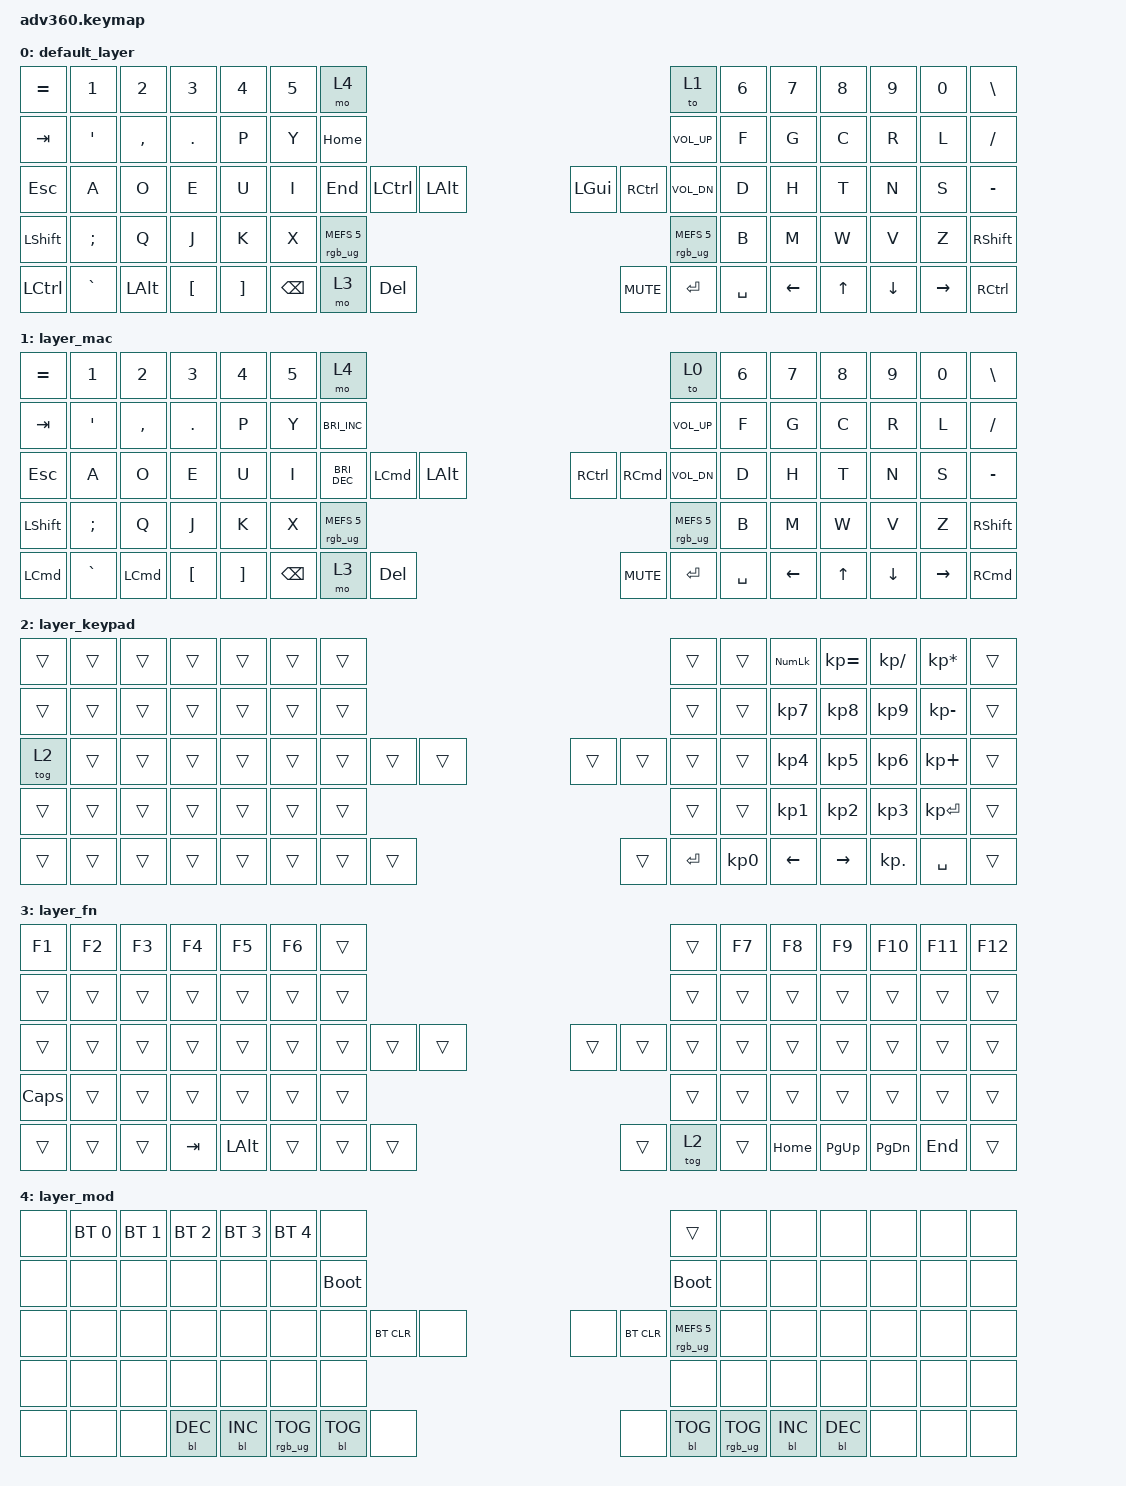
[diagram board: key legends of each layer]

/*
 * Copyright (c) 2020 The ZMK Contributors
 *
 * SPDX-License-Identifier: MIT
 */


/* THIS FILE WAS GENERATED!
 *
 * This file was generated automatically. You may or may not want to
 * edit it directly.
 */

#include <behaviors.dtsi>
#include <dt-bindings/zmk/keys.h>
#include <dt-bindings/zmk/rgb.h>
#include <dt-bindings/zmk/bt.h>
#include <dt-bindings/zmk/backlight.h>

/ {
  behaviors {
    #include "macros.dtsi"

    hm: homerow_mods {
        compatible = "zmk,behavior-hold-tap";
        label = "HOMEROW_MODS";
        #binding-cells = <2>;
        tapping-term-ms = <200>;
        quick_tap_ms = <175>;
        flavor = "tap-preferred";
        bindings = <&kp>, <&kp>;
    };
  };

    keymap {
        compatible = "zmk,keymap";


        default_layer {
            bindings = <
        &kp EQUAL            &kp N1     &kp N2            &kp N3             &kp N4  &kp N5               &mo 4                                                                                               &to 1  &kp N6    &kp N7  &kp N8    &kp N9     &kp N0  &kp BACKSLASH
          &kp TAB  &kp SINGLE_QUOTE  &kp COMMA           &kp DOT              &kp P   &kp Y            &kp HOME                                                                                        &kp C_VOL_UP   &kp F     &kp G   &kp C     &kp R      &kp L      &kp SLASH
          &kp ESC             &kp A      &kp O             &kp E              &kp U   &kp I             &kp END  &kp LCTRL                &kp LALT                                &kp LGUI  &kp RCTRL  &kp C_VOL_DN   &kp D     &kp H   &kp T     &kp N      &kp S      &kp MINUS
        &kp LSHFT     &kp SEMICOLON      &kp Q             &kp J              &kp K   &kp X                                 &rgb_ug RGB_MEFS_CMD 5                  &rgb_ug RGB_MEFS_CMD 5                            &kp B     &kp M   &kp W     &kp V      &kp Z      &kp RSHFT
 &kp LEFT_CONTROL         &kp GRAVE   &kp LALT  &kp LEFT_BRACKET  &kp RIGHT_BRACKET                    &kp BSPC      &mo 3              &kp DELETE                              &kp C_MUTE  &kp ENTER     &kp SPACE          &kp LEFT  &kp UP  &kp DOWN  &kp RIGHT      &kp RCTRL
            >;
        };

        layer_mac {
            bindings = <
        &kp EQUAL            &kp N1            &kp N2            &kp N3             &kp N4  &kp N5                           &mo 4                                                                                                              &to 0  &kp N6    &kp N7  &kp N8    &kp N9     &kp N0  &kp BACKSLASH
          &kp TAB  &kp SINGLE_QUOTE         &kp COMMA           &kp DOT              &kp P   &kp Y            &kp C_BRIGHTNESS_INC                                                                                                       &kp C_VOL_UP   &kp F     &kp G   &kp C     &kp R      &kp L      &kp SLASH
          &kp ESC             &kp A             &kp O             &kp E              &kp U   &kp I            &kp C_BRIGHTNESS_DEC  &kp LEFT_COMMAND            &kp LEFT_ALT                       &kp RIGHT_CONTROL  &kp RIGHT_COMMAND  &kp C_VOL_DN   &kp D     &kp H   &kp T     &kp N      &kp S      &kp MINUS
   &kp LEFT_SHIFT     &kp SEMICOLON             &kp Q             &kp J              &kp K   &kp X                                                    &rgb_ug RGB_MEFS_CMD 5                  &rgb_ug RGB_MEFS_CMD 5                                    &kp B     &kp M   &kp W     &kp V      &kp Z      &kp RSHFT
 &kp LEFT_COMMAND         &kp GRAVE  &kp LEFT_COMMAND  &kp LEFT_BRACKET  &kp RIGHT_BRACKET                           &kp BACKSPACE             &mo 3              &kp DELETE                              &kp C_MUTE          &kp ENTER     &kp SPACE          &kp LEFT  &kp UP  &kp DOWN  &kp RIGHT       &kp RCMD
            >;
        };

        layer_keypad {
            bindings = <
 &trans  &trans  &trans  &trans  &trans  &trans            &trans                                                        &trans  &trans  &kp KP_NUM  &kp KP_EQUAL  &kp KP_DIVIDE  &kp KP_MULTIPLY  &trans
 &trans  &trans  &trans  &trans  &trans  &trans            &trans                                                        &trans  &trans   &kp KP_N7     &kp KP_N8      &kp KP_N9     &kp KP_MINUS  &trans
 &tog 2  &trans  &trans  &trans  &trans  &trans            &trans  &trans  &trans                  &trans     &trans     &trans  &trans   &kp KP_N4     &kp KP_N5      &kp KP_N6      &kp KP_PLUS  &trans
 &trans  &trans  &trans  &trans  &trans  &trans                            &trans                  &trans                        &trans   &kp KP_N1     &kp KP_N2      &kp KP_N3     &kp KP_ENTER  &trans
 &trans  &trans  &trans  &trans  &trans                    &trans  &trans  &trans                  &trans  &kp ENTER  &kp KP_N0            &kp LEFT     &kp RIGHT     &kp KP_DOT        &kp SPACE  &trans
            >;
        };

        layer_fn {
            bindings = <
   &kp F1  &kp F2  &kp F3   &kp F4    &kp F5  &kp F6            &trans                                                  &trans  &kp F7    &kp F8       &kp F9        &kp F10  &kp F11  &kp F12
   &trans  &trans  &trans   &trans    &trans  &trans            &trans                                                  &trans  &trans    &trans       &trans         &trans   &trans   &trans
   &trans  &trans  &trans   &trans    &trans  &trans            &trans  &trans  &trans                  &trans  &trans  &trans  &trans    &trans       &trans         &trans   &trans   &trans
 &kp CAPS  &trans  &trans   &trans    &trans  &trans                            &trans                  &trans                  &trans    &trans       &trans         &trans   &trans   &trans
   &trans  &trans  &trans  &kp TAB  &kp LALT                    &trans  &trans  &trans                  &trans  &tog 2  &trans          &kp HOME  &kp PAGE_UP  &kp PAGE_DOWN  &kp END   &trans
            >;
        };

        layer_mod {
            bindings = <
  &none  &bt BT_SEL 0  &bt BT_SEL 1  &bt BT_SEL 2  &bt BT_SEL 3  &bt BT_SEL 4                      &none                                                                          &trans   &none       &none       &none   &none   &none   &none
  &none         &none         &none         &none         &none         &none                &bootloader                                                                     &bootloader   &none       &none       &none   &none   &none   &none
  &none         &none         &none         &none         &none         &none                      &none  &bt BT_CLR   &none                   &none  &bt BT_CLR  &rgb_ug RGB_MEFS_CMD 5   &none       &none       &none   &none   &none   &none
  &none         &none         &none         &none         &none         &none                                          &none                   &none                                       &none       &none       &none   &none   &none   &none
  &none         &none         &none    &bl BL_DEC    &bl BL_INC                          &rgb_ug RGB_TOG  &bl BL_TOG   &none                   &none  &bl BL_TOG         &rgb_ug RGB_TOG          &bl BL_INC  &bl BL_DEC   &none   &none   &none
            >;
        };

    };
};
